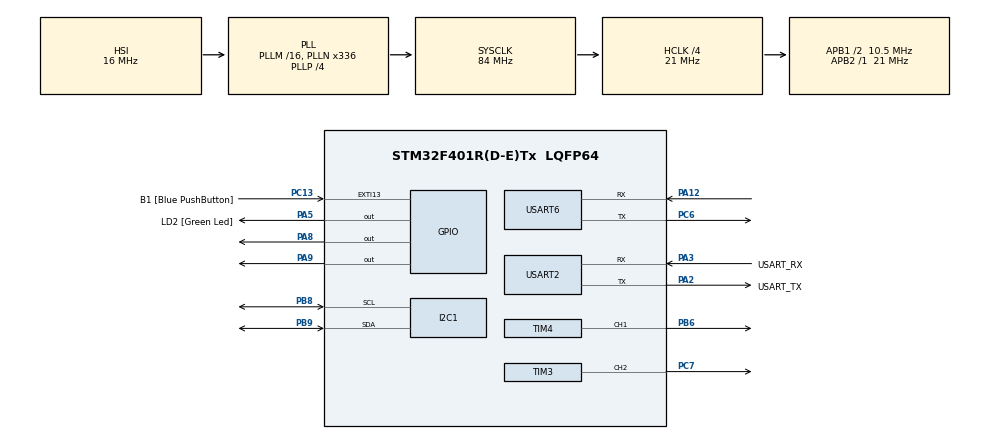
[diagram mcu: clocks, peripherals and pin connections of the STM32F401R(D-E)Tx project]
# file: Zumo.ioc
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Dma.Request0=USART6_RX
Dma.USART6_RX.0.Direction=DMA_PERIPH_TO_MEMORY
Dma.USART6_RX.0.FIFOMode=DMA_FIFOMODE_DISABLE
Dma.USART6_RX.0.Instance=DMA2_Stream1
Dma.USART6_RX.0.MemDataAlignment=DMA_MDATAALIGN_BYTE
Dma.USART6_RX.0.MemInc=DMA_MINC_ENABLE
Dma.USART6_RX.0.Mode=DMA_NORMAL
Dma.USART6_RX.0.PeriphDataAlignment=DMA_PDATAALIGN_BYTE
Dma.USART6_RX.0.PeriphInc=DMA_PINC_DISABLE
Dma.USART6_RX.0.Priority=DMA_PRIORITY_LOW
I2C1.I2C_Mode=I2C_Fast
Mcu.Family=STM32F4
Mcu.Name=STM32F401R(D-E)Tx
Mcu.Package=LQFP64
NVIC.DMA2_Stream1_IRQn=true\:0\:0\:false\:false\:true\:false\:true\:true
NVIC.PriorityGroup=NVIC_PRIORITYGROUP_0
PA12.Mode=Asynchronous
PA12.Signal=USART6_RX
PA13.GPIO_Label=TMS
PA13.Signal=SYS_JTMS-SWDIO
PA14.GPIO_Label=TCK
PA14.Signal=SYS_JTCK-SWCLK
PA2.GPIO_Label=USART_TX
PA2.GPIO_Mode=GPIO_MODE_AF_PP
PA2.GPIO_PuPd=GPIO_NOPULL
PA2.GPIO_Speed=GPIO_SPEED_FREQ_LOW
PA2.Mode=Asynchronous
PA2.Signal=USART2_TX
PA3.GPIO_Label=USART_RX
PA3.GPIO_Mode=GPIO_MODE_AF_PP
PA3.GPIO_PuPd=GPIO_NOPULL
PA3.GPIO_Speed=GPIO_SPEED_FREQ_LOW
PA3.Mode=Asynchronous
PA3.Signal=USART2_RX
PA5.GPIO_Label=LD2 [Green Led]
PA5.GPIO_Mode=GPIO_MODE_OUTPUT_PP
PA5.GPIO_PuPd=GPIO_NOPULL
PA5.GPIO_Speed=GPIO_SPEED_FREQ_LOW
PA5.Signal=GPIO_Output
PA8.Signal=GPIO_Output
PA9.Signal=GPIO_Output
PB3.GPIO_Label=SWO
PB3.Signal=SYS_JTDO-SWO
PB6.Signal=S_TIM4_CH1
PB8.Mode=I2C
PB8.Signal=I2C1_SCL
PB9.Mode=I2C
PB9.Signal=I2C1_SDA
PC13-ANTI_TAMP.GPIO_Label=B1 [Blue PushButton]
PC13-ANTI_TAMP.GPIO_ModeDefaultEXTI=GPIO_MODE_IT_FALLING
PC13-ANTI_TAMP.GPIO_PuPd=GPIO_NOPULL
PC13-ANTI_TAMP.Signal=GPXTI13
PC14-OSC32_IN.Signal=RCC_OSC32_IN
PC15-OSC32_OUT.Signal=RCC_OSC32_OUT
PC6.Mode=Asynchronous
PC6.Signal=USART6_TX
PC7.Signal=S_TIM3_CH2
PH0\ -\ OSC_IN.Signal=RCC_OSC_IN
PH1\ -\ OSC_OUT.Signal=RCC_OSC_OUT
ProjectManager.HeapSize=0x200
ProjectManager.StackSize=0x400
ProjectManager.TargetToolchain=STM32CubeIDE
RCC.AHBCLKDivider=RCC_SYSCLK_DIV4
RCC.AHBFreq_Value=21000000
RCC.APB1CLKDivider=RCC_HCLK_DIV2
RCC.APB1Freq_Value=10500000
RCC.APB1TimFreq_Value=21000000
RCC.APB2Freq_Value=21000000
RCC.APB2TimFreq_Value=21000000
RCC.CortexFreq_Value=21000000
RCC.HCLKFreq_Value=21000000
RCC.HSE_VALUE=8000000
RCC.HSI_VALUE=16000000
RCC.LSE_VALUE=32768
RCC.PLLN=336
RCC.PLLP=RCC_PLLP_DIV4
RCC.PLLQ=7
RCC.SYSCLKFreq_VALUE=84000000
RCC.SYSCLKSource=RCC_SYSCLKSOURCE_PLLCLK
RCC.VCOOutputFreq_Value=336000000
SH.S_TIM3_CH2.0=TIM3_CH2,PWM Generation2 CH2
SH.S_TIM4_CH1.0=TIM4_CH1,PWM Generation1 CH1
TIM3.AutoReloadPreload=TIM_AUTORELOAD_PRELOAD_ENABLE
TIM3.Channel-PWM\ Generation2\ CH2=TIM_CHANNEL_2
TIM3.Period=1000
TIM3.Prescaler=84
TIM4.AutoReloadPreload=TIM_AUTORELOAD_PRELOAD_ENABLE
TIM4.Channel-PWM\ Generation1\ CH1=TIM_CHANNEL_1
TIM4.Period=1000
TIM4.Prescaler=84
USART2.VirtualMode=VM_ASYNC
USART6.VirtualMode=VM_ASYNC
VP_TIM4_VS_ClockSourceINT.Mode=Internal
board=NUCLEO-F401RE

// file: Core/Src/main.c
/* USER CODE BEGIN Header */
/**
 ******************************************************************************
 * @file           : main.c
 * @brief          : Main program body
 ******************************************************************************
 * @attention
 *
 * Copyright (c) 2025 STMicroelectronics.
 * All rights reserved.
 *
 * This software is licensed under terms that can be found in the LICENSE file
 * in the root directory of this software component.
 * If no LICENSE file comes with this software, it is provided AS-IS.
 *
 ******************************************************************************
 */
/* USER CODE END Header */
#include "main.h"

/* USER CODE BEGIN Includes */
#include <string.h>
#include <stdio.h>
#include "math.h"
#include <stdlib.h>
/* USER CODE END Includes */

/* USER CODE BEGIN PD */
#define RX_BUF_SIZE 		12
#define TX_BUF_SIZE			6
/* USER CODE END PD */

I2C_HandleTypeDef hi2c1;

TIM_HandleTypeDef htim3;
TIM_HandleTypeDef htim4;

UART_HandleTypeDef huart2;
UART_HandleTypeDef huart6;
DMA_HandleTypeDef hdma_usart6_rx;

/* USER CODE BEGIN PV */
float target_gz = 0.0f;       // Bluetooth command: G{value}
float target_a = 0.0f;        // Bluetooth command: A{value}
int forward_pwm = 300;        // Bluetooth command: P{value}
int mode = 0;                 // 0: PWM, 1: Turn, 2: Acceleration

float vol = 0.0; // Current speed (initially zero)

// Global variables fir pitch, roll, and state
int pitch = 0;
int roll = 0;
int state = 0;
char ca, cb, cc, cd, ce, c;
int count = 0;

uint8_t Data[RX_BUF_SIZE];
uint8_t *Trash;
char bt_str[TX_BUF_SIZE];
/* USER CODE END PV */

void SystemClock_Config(void);
static void MX_GPIO_Init(void);
static void MX_DMA_Init(void);
static void MX_I2C1_Init(void);
static void MX_TIM3_Init(void);
static void MX_TIM4_Init(void);
static void MX_USART2_UART_Init(void);
static void MX_USART6_UART_Init(void);
/* USER CODE BEGIN PFP */
void BT_Receive(char *str);
void motor_forward(void);
void motor_stop(void);
void dyna_forward(int val);
void dyna_backward(int val);
void dyna_right_spin(int val);
void dyna_left_spin(int val);
void gyro_turn_pid(float target_angle_deg, int spin_direction);
HAL_StatusTypeDef check_I2C_device(uint8_t device_address);
void test_I2C_devices(void);
void read_accelerometer(float *ax, float *ay, float *az);
void read_gyroscope(float *gx, float *gy, float *gz);
void read_magnetometer(float *mx, float *my, float *mz);
void init_magnetometer(void);
void init_accelerometer(void);
void init_gyroscope(void);
void set_pwm(float left_pwm, float right_pwm);
void BT_Transmit(char *str);
void curve_control(int target_gz, float signed_speed);
/* USER CODE END PFP */

/* USER CODE BEGIN 0 */
void i2c_scan() {
	printf("Scanning I2C bus...\r\n");
	for (uint8_t addr = 1; addr < 127; addr++) {
		if (HAL_I2C_IsDeviceReady(&hi2c1, addr << 1, 1, 10) == HAL_OK) {
			printf("I2C device found at 0x%02X\r\n", addr);
		} else {
			printf("I2C device NOT found at 0x%02X\r\n", addr);
		}
	}
}

// Callback function of UART interrupt
// MODIFIES: pitch, roll, state
// BT message format: P<ppp>,R<rrr>,S<s>
// where each p, r, and s is one digit in ASCII
// the first digit of pitch and roll indicates plus or minus, '1' for negative values
void HAL_UART_RxCpltCallback(UART_HandleTypeDef *huart) {
	//HAL_UART_DMAPause(huart);
	if (huart->Instance == USART6) {
		//HAL_UART_Transmit(&huart2, Data, 12, 1000);

		//Find the starting character: 'P'
		int index = 0;
		int if_error = 0;
		for (int i = 0; i < RX_BUF_SIZE; i++) {
			if (Data[i] == 'P')
				index = i;
			if(Data[i] > 'Z'){
				if_error = 1;
				break;
			}
		}

		if(!if_error){
			pitch = (Data[(2 + index) % RX_BUF_SIZE] - '0') * 10
					+ (Data[(3 + index) % RX_BUF_SIZE] - '0');
			roll = (Data[(7 + index) % RX_BUF_SIZE] - '0') * 10
					+ (Data[(8 + index) % RX_BUF_SIZE] - '0');
			state = (Data[(11 + index) % RX_BUF_SIZE] - '0');

			if (Data[(1 + index) % RX_BUF_SIZE] == '1')
				pitch *= (-1);
			if (Data[(6 + index) % RX_BUF_SIZE] == '1')
				roll *= (-1);
		}

	}
	//HAL_UART_DMAResume(huart);
	HAL_UART_Receive_DMA(&huart6, Data, RX_BUF_SIZE);
}

void i2c_bus_reset() {
	GPIO_InitTypeDef GPIO_InitStruct = { 0 };

	// 1. Disable I2C peripheral
	__HAL_RCC_I2C1_FORCE_RESET();
	__HAL_RCC_I2C1_RELEASE_RESET();

	// 2. Configure SCL and SDA as GPIO
	GPIO_InitStruct.Pin = GPIO_PIN_8 | GPIO_PIN_9; // Assuming PB8=SCL, PB9=SDA
	GPIO_InitStruct.Mode = GPIO_MODE_OUTPUT_OD;
	GPIO_InitStruct.Pull = GPIO_NOPULL;
	GPIO_InitStruct.Speed = GPIO_SPEED_FREQ_HIGH;
	HAL_GPIO_Init(GPIOB, &GPIO_InitStruct);

	// 3. Pulse SCL 9 times
	for (int i = 0; i < 9; i++) {
		HAL_GPIO_WritePin(GPIOB, GPIO_PIN_8, GPIO_PIN_SET); // SCL High
		HAL_Delay(1);
		HAL_GPIO_WritePin(GPIOB, GPIO_PIN_8, GPIO_PIN_RESET); // SCL Low
		HAL_Delay(1);
	}

	// 4. Reconfigure SDA/SCL for I2C
	MX_I2C1_Init();
}
/* USER CODE END 0 */

int main(void) {

	/* MCU Configuration--------------------------------------------------------*/

	/* Reset of all peripherals, Initializes the Flash interface and the Systick. */
	HAL_Init();

	/* Configure the system clock */
	SystemClock_Config();

	/* Initialize all configured peripherals */
	MX_GPIO_Init();
	MX_DMA_Init();
	MX_I2C1_Init();
	MX_TIM3_Init();
	MX_TIM4_Init();
	MX_USART2_UART_Init();
	MX_USART6_UART_Init();
	/* USER CODE BEGIN 2 */
	HAL_TIM_PWM_Start(&htim3, TIM_CHANNEL_2);
	HAL_TIM_PWM_Start(&htim4, TIM_CHANNEL_1);
	//i2c_scan();
	init_accelerometer();
	init_gyroscope();
	init_magnetometer();
	//HAL_UARTEx_ReceiveToIdle_IT(&huart6, Data, MAX_BUFFER_SIZE);
	//	while((*Trash) != 'P')
	//	{
	//		HAL_UART_Receive(&huart6, Trash, 1, HAL_MAX_DELAY);
	//	}
	HAL_UART_Receive_DMA(&huart6, Data, RX_BUF_SIZE);

	if (HAL_I2C_IsDeviceReady(&hi2c1, 0x6B << 1, 1, HAL_MAX_DELAY) == HAL_OK) {
		printf("L3GD20H detected at 0x6B\r\n");
	} else {
		printf("L3GD20H NOT detected!\r\n");
	}
	if (HAL_I2C_IsDeviceReady(&hi2c1, 0x1D << 1, 1, HAL_MAX_DELAY) == HAL_OK) {
		printf("LSM303D detected at 0x1D\r\n");
	} else {
		printf("LSM303D NOT detected!\r\n");
	}
	//  if (huart2.RxState == HAL_UART_STATE_READY) {
	//        printf("Bluetooth detected\r\n");
	//    } else {
	//        printf("Bluetooth NOT detected!\r\n");
	//        printf("State %d\r\n",huart2.RxState);
	//    }
	/* USER CODE END 2 */

	/* Infinite loop */
	while (1) {

		/* USER CODE BEGIN 3 */
		int num1 = (pitch < 10 && pitch > -10) ? 0 : pitch;
		int num2 = (roll < 10 && roll > -10) ? 0 : roll;
		int num3 = state;
		// Emergency stop logic
		if (num3 == 1) {
			vol = 0.0;
			num1 = 0;
			num2 = 0;
			set_pwm(0,0);

		} else {
			//			if (abs(num1) >= abs(num2)) {
			//				num2 = 0;
			//			} else {
			//				num1 = 0;
			//			}

			// Adjust the speed according to pitch (acceleration/deceleration)
			//printf("pitch:%d\r\n",num1);
			if (num1 > 1000)
			{
				while(1);
			}
			vol = num1 * 18;
			curve_control((int)((float)num2 * 0.95f), vol);

			//printf("velocity:%.2f\r\n",vol);
//	  			set_pwm(vol,vol);

			// Clamp vol to allowable speed range [-1000, 1000]
		}

		// Compute turning difference based on roll
		// Higher roll gives greater difference between wheels for sharper turns
		//printf("Roll:%d\r\n",num2);

//	  		double turn_delta = (vol * num2) / 90.0;
//	  		if (vol<100&&vol>-100){
//	  			int direction = (num2>0) ? 1 : (num2<0) ? -1 : 0;
//	  			turn_delta = 100*direction;
//	  		}
//	  		// Calculate raw PWM values before mapping
//	  		double left_pwm_raw = vol - turn_delta;
//	  		double right_pwm_raw = vol + turn_delta;
//
//	  		// Map absolute speed to PWM (0->150, max->1000), preserving direction
//	  		int left_pwm, right_pwm;
//
//	  		if (left_pwm_raw != 0) {
//	  			int left_sign = (left_pwm_raw > 0) ? 1 : -1;
//	  			left_pwm = left_sign
//	  					* (150 + (abs(left_pwm_raw) * (1000 - 150)) / 1000);
//	  		} else {
//	  			left_pwm = 0;
//	  		}
//
//	  		if (right_pwm_raw != 0) {
//	  			int right_sign = (right_pwm_raw > 0) ? 1 : -1;
//	  			right_pwm = right_sign
//	  					* (150 + (abs(right_pwm_raw) * (1000 - 150)) / 1000);
//	  		} else {
//	  			right_pwm = 0;
//	  		}
//
//	  		// Set PWM values to motors using existing motor control function
//	  		set_pwm(left_pwm, right_pwm);
		//if(count == 10){
		c = 'S';
		if (vol < 0)
			ca = '1';
		else
			ca = '0';

		int vol_int = floor(abs(vol));
		int cbb = (vol_int / 1000);
		cb = cbb + '0';
		int ccc = ((vol_int - cbb * 1000) / 100);
		cc = ccc + '0';
		int cdd = ((vol_int - cbb * 1000 - ccc * 100) / 10);
		cd = cdd + '0';
		int cee = (vol_int - cbb * 1000 - ccc * 100 - 10 * cdd);
		ce = cee + '0';

		sprintf(bt_str, "%c%c%c%c%c%c", c, ca, cb, cc, cd, ce);
		//printf("%c%c%c%c%c%c\r\n",c,ca,cb,cc,cd,ce);

		count = 0;
		BT_Transmit(bt_str);
		//}
		//count++;
		// Delay to maintain loop responsiveness (e.g., 10 ms per loop)
		HAL_Delay(10);  // Keep loop responsive
		//if (num3 == 1)
			//HAL_Delay(1000);
	}
	/* USER CODE END 3 */
}

void SystemClock_Config(void) {
	RCC_OscInitTypeDef RCC_OscInitStruct = { 0 };
	RCC_ClkInitTypeDef RCC_ClkInitStruct = { 0 };

	/** Configure the main internal regulator output voltage
	 */
	__HAL_RCC_PWR_CLK_ENABLE();
	__HAL_PWR_VOLTAGESCALING_CONFIG(PWR_REGULATOR_VOLTAGE_SCALE2);

	/** Initializes the RCC Oscillators according to the specified parameters
	 * in the RCC_OscInitTypeDef structure.
	 */
	RCC_OscInitStruct.OscillatorType = RCC_OSCILLATORTYPE_HSI;
	RCC_OscInitStruct.HSIState = RCC_HSI_ON;
	RCC_OscInitStruct.HSICalibrationValue = RCC_HSICALIBRATION_DEFAULT;
	RCC_OscInitStruct.PLL.PLLState = RCC_PLL_ON;
	RCC_OscInitStruct.PLL.PLLSource = RCC_PLLSOURCE_HSI;
	RCC_OscInitStruct.PLL.PLLM = 16;
	RCC_OscInitStruct.PLL.PLLN = 336;
	RCC_OscInitStruct.PLL.PLLP = RCC_PLLP_DIV4;
	RCC_OscInitStruct.PLL.PLLQ = 7;
	if (HAL_RCC_OscConfig(&RCC_OscInitStruct) != HAL_OK) {
		Error_Handler();
	}

	/** Initializes the CPU, AHB and APB buses clocks
	 */
	RCC_ClkInitStruct.ClockType = RCC_CLOCKTYPE_HCLK | RCC_CLOCKTYPE_SYSCLK
			| RCC_CLOCKTYPE_PCLK1 | RCC_CLOCKTYPE_PCLK2;
	RCC_ClkInitStruct.SYSCLKSource = RCC_SYSCLKSOURCE_PLLCLK;
	RCC_ClkInitStruct.AHBCLKDivider = RCC_SYSCLK_DIV4;
	RCC_ClkInitStruct.APB1CLKDivider = RCC_HCLK_DIV2;
	RCC_ClkInitStruct.APB2CLKDivider = RCC_HCLK_DIV1;

	if (HAL_RCC_ClockConfig(&RCC_ClkInitStruct, FLASH_LATENCY_0) != HAL_OK) {
		Error_Handler();
	}
}

static void MX_I2C1_Init(void) {

	hi2c1.Instance = I2C1;
	hi2c1.Init.ClockSpeed = 400000;
	hi2c1.Init.DutyCycle = I2C_DUTYCYCLE_2;
	hi2c1.Init.OwnAddress1 = 0;
	hi2c1.Init.AddressingMode = I2C_ADDRESSINGMODE_7BIT;
	hi2c1.Init.DualAddressMode = I2C_DUALADDRESS_DISABLE;
	hi2c1.Init.OwnAddress2 = 0;
	hi2c1.Init.GeneralCallMode = I2C_GENERALCALL_DISABLE;
	hi2c1.Init.NoStretchMode = I2C_NOSTRETCH_DISABLE;
	if (HAL_I2C_Init(&hi2c1) != HAL_OK) {
		Error_Handler();
	}

}

static void MX_TIM3_Init(void) {

	TIM_MasterConfigTypeDef sMasterConfig = { 0 };
	TIM_OC_InitTypeDef sConfigOC = { 0 };

	htim3.Instance = TIM3;
	htim3.Init.Prescaler = 84;
	htim3.Init.CounterMode = TIM_COUNTERMODE_UP;
	htim3.Init.Period = 1000;
	htim3.Init.ClockDivision = TIM_CLOCKDIVISION_DIV1;
	htim3.Init.AutoReloadPreload = TIM_AUTORELOAD_PRELOAD_ENABLE;
	if (HAL_TIM_PWM_Init(&htim3) != HAL_OK) {
		Error_Handler();
	}
	sMasterConfig.MasterOutputTrigger = TIM_TRGO_RESET;
	sMasterConfig.MasterSlaveMode = TIM_MASTERSLAVEMODE_DISABLE;
	if (HAL_TIMEx_MasterConfigSynchronization(&htim3, &sMasterConfig)
			!= HAL_OK) {
		Error_Handler();
	}
	sConfigOC.OCMode = TIM_OCMODE_PWM1;
	sConfigOC.Pulse = 0;
	sConfigOC.OCPolarity = TIM_OCPOLARITY_HIGH;
	sConfigOC.OCFastMode = TIM_OCFAST_DISABLE;
	if (HAL_TIM_PWM_ConfigChannel(&htim3, &sConfigOC, TIM_CHANNEL_2)
			!= HAL_OK) {
		Error_Handler();
	}
	/* USER CODE BEGIN TIM3_Init 2 */
	sConfigOC.OCMode = TIM_OCMODE_PWM1;
	sConfigOC.Pulse = 0;
	sConfigOC.OCPolarity = TIM_OCPOLARITY_HIGH;
	sConfigOC.OCFastMode = TIM_OCFAST_DISABLE;
	if (HAL_TIM_PWM_ConfigChannel(&htim3, &sConfigOC, TIM_CHANNEL_2)
			!= HAL_OK) {
		Error_Handler();
	}

	HAL_TIM_PWM_Start(&htim3, TIM_CHANNEL_2);
	/* USER CODE END TIM3_Init 2 */
	HAL_TIM_MspPostInit(&htim3);

}

static void MX_TIM4_Init(void) {

	TIM_ClockConfigTypeDef sClockSourceConfig = { 0 };
	TIM_MasterConfigTypeDef sMasterConfig = { 0 };
	TIM_OC_InitTypeDef sConfigOC = { 0 };

	htim4.Instance = TIM4;
	htim4.Init.Prescaler = 84;
	htim4.Init.CounterMode = TIM_COUNTERMODE_UP;
	htim4.Init.Period = 1000;
	htim4.Init.ClockDivision = TIM_CLOCKDIVISION_DIV1;
	htim4.Init.AutoReloadPreload = TIM_AUTORELOAD_PRELOAD_ENABLE;
	if (HAL_TIM_Base_Init(&htim4) != HAL_OK) {
		Error_Handler();
	}
	sClockSourceConfig.ClockSource = TIM_CLOCKSOURCE_INTERNAL;
	if (HAL_TIM_ConfigClockSource(&htim4, &sClockSourceConfig) != HAL_OK) {
		Error_Handler();
	}
	if (HAL_TIM_PWM_Init(&htim4) != HAL_OK) {
		Error_Handler();
	}
	sMasterConfig.MasterOutputTrigger = TIM_TRGO_RESET;
	sMasterConfig.MasterSlaveMode = TIM_MASTERSLAVEMODE_DISABLE;
	if (HAL_TIMEx_MasterConfigSynchronization(&htim4, &sMasterConfig)
			!= HAL_OK) {
		Error_Handler();
	}
	sConfigOC.OCMode = TIM_OCMODE_PWM1;
	sConfigOC.Pulse = 0;
	sConfigOC.OCPolarity = TIM_OCPOLARITY_HIGH;
	sConfigOC.OCFastMode = TIM_OCFAST_DISABLE;
	if (HAL_TIM_PWM_ConfigChannel(&htim4, &sConfigOC, TIM_CHANNEL_1)
			!= HAL_OK) {
		Error_Handler();
	}
	/* USER CODE BEGIN TIM4_Init 2 */
	sConfigOC.OCMode = TIM_OCMODE_PWM1;
	sConfigOC.Pulse = 0;
	sConfigOC.OCPolarity = TIM_OCPOLARITY_HIGH;
	sConfigOC.OCFastMode = TIM_OCFAST_DISABLE;
	if (HAL_TIM_PWM_ConfigChannel(&htim4, &sConfigOC, TIM_CHANNEL_1)
			!= HAL_OK) {
		Error_Handler();
	}

	HAL_TIM_PWM_Start(&htim4, TIM_CHANNEL_1);
	/* USER CODE END TIM4_Init 2 */
	HAL_TIM_MspPostInit(&htim4);

}

static void MX_USART2_UART_Init(void) {

	huart2.Instance = USART2;
	huart2.Init.BaudRate = 115200;
	huart2.Init.WordLength = UART_WORDLENGTH_8B;
	huart2.Init.StopBits = UART_STOPBITS_1;
	huart2.Init.Parity = UART_PARITY_NONE;
	huart2.Init.Mode = UART_MODE_TX_RX;
	huart2.Init.HwFlowCtl = UART_HWCONTROL_NONE;
	huart2.Init.OverSampling = UART_OVERSAMPLING_16;
	if (HAL_UART_Init(&huart2) != HAL_OK) {
		Error_Handler();
	}

}

static void MX_USART6_UART_Init(void) {

	huart6.Instance = USART6;
	huart6.Init.BaudRate = 115200;
	huart6.Init.WordLength = UART_WORDLENGTH_8B;
	huart6.Init.StopBits = UART_STOPBITS_1;
	huart6.Init.Parity = UART_PARITY_NONE;
	huart6.Init.Mode = UART_MODE_TX_RX;
	huart6.Init.HwFlowCtl = UART_HWCONTROL_NONE;
	huart6.Init.OverSampling = UART_OVERSAMPLING_16;
	if (HAL_UART_Init(&huart6) != HAL_OK) {
		Error_Handler();
	}

}

static void MX_DMA_Init(void) {

	/* DMA controller clock enable */
	__HAL_RCC_DMA2_CLK_ENABLE();

	/* DMA interrupt init */
	/* DMA2_Stream1_IRQn interrupt configuration */
	HAL_NVIC_SetPriority(DMA2_Stream1_IRQn, 0, 0);
	HAL_NVIC_EnableIRQ(DMA2_Stream1_IRQn);

}

static void MX_GPIO_Init(void) {
	GPIO_InitTypeDef GPIO_InitStruct = { 0 };

	/* GPIO Ports Clock Enable */
	__HAL_RCC_GPIOC_CLK_ENABLE();
	__HAL_RCC_GPIOH_CLK_ENABLE();
	__HAL_RCC_GPIOA_CLK_ENABLE();
	__HAL_RCC_GPIOB_CLK_ENABLE();

	/*Configure GPIO pin Output Level */
	HAL_GPIO_WritePin(GPIOA, LD2_Pin | GPIO_PIN_8 | GPIO_PIN_9, GPIO_PIN_RESET);

	/*Configure GPIO pin : B1_Pin */
	GPIO_InitStruct.Pin = B1_Pin;
	GPIO_InitStruct.Mode = GPIO_MODE_IT_FALLING;
	GPIO_InitStruct.Pull = GPIO_NOPULL;
	HAL_GPIO_Init(B1_GPIO_Port, &GPIO_InitStruct);

	/*Configure GPIO pins : LD2_Pin PA8 PA9 */
	GPIO_InitStruct.Pin = LD2_Pin | GPIO_PIN_8 | GPIO_PIN_9;
	GPIO_InitStruct.Mode = GPIO_MODE_OUTPUT_PP;
	GPIO_InitStruct.Pull = GPIO_NOPULL;
	GPIO_InitStruct.Speed = GPIO_SPEED_FREQ_LOW;
	HAL_GPIO_Init(GPIOA, &GPIO_InitStruct);

	/* USER CODE BEGIN MX_GPIO_Init_2 */
	// TIM3_CH2 -> PC7
	GPIO_InitStruct.Pin = GPIO_PIN_7;
	GPIO_InitStruct.Mode = GPIO_MODE_AF_PP;
	GPIO_InitStruct.Pull = GPIO_NOPULL;
	GPIO_InitStruct.Speed = GPIO_SPEED_FREQ_LOW;
	GPIO_InitStruct.Alternate = GPIO_AF2_TIM3;
	HAL_GPIO_Init(GPIOC, &GPIO_InitStruct);

	// TIM4_CH1 -> PB6
	GPIO_InitStruct.Pin = GPIO_PIN_6;
	GPIO_InitStruct.Mode = GPIO_MODE_AF_PP;
	GPIO_InitStruct.Pull = GPIO_NOPULL;
	GPIO_InitStruct.Speed = GPIO_SPEED_FREQ_LOW;
	GPIO_InitStruct.Alternate = GPIO_AF2_TIM4;
	HAL_GPIO_Init(GPIOB, &GPIO_InitStruct);
	/* USER CODE END MX_GPIO_Init_2 */
}

/* USER CODE BEGIN 4 */
void motor_forward(void) {
	HAL_GPIO_WritePin(GPIOA, GPIO_PIN_8, 0); // 			RIGHT DIR 	PA8 	D7	Pin 7	0:For	1:Back
	HAL_GPIO_WritePin(GPIOA, GPIO_PIN_9, 0); // 			LEFT DIR 	PA9 	D8	Pin 8	0:For	1:Back
	__HAL_TIM_SET_COMPARE(&htim3, TIM_CHANNEL_2, 500); //	RIGHT VAL	PC7		D9	Pin 9
	__HAL_TIM_SET_COMPARE(&htim4, TIM_CHANNEL_1, 500); // 	LEFT VAL	PB6		D10	Pin10
}

void dyna_forward(int val) {
	HAL_GPIO_WritePin(GPIOA, GPIO_PIN_8, 0); // 			RIGHT DIR 	PA8 	D7	Pin 7	0:For	1:Back
	HAL_GPIO_WritePin(GPIOA, GPIO_PIN_9, 0); // 			LEFT DIR 	PA9 	D8	Pin 8	0:For	1:Back
	__HAL_TIM_SET_COMPARE(&htim3, TIM_CHANNEL_2, val); //	RIGHT VAL	PC7		D9	Pin 9
	__HAL_TIM_SET_COMPARE(&htim4, TIM_CHANNEL_1, val); // 	LEFT VAL	PB6		D10	Pin10
}

void dyna_backward(int val) {
	HAL_GPIO_WritePin(GPIOA, GPIO_PIN_8, 1); // 			RIGHT DIR 	PA8 	D7	Pin 7	0:For	1:Back
	HAL_GPIO_WritePin(GPIOA, GPIO_PIN_9, 1); // 			LEFT DIR 	PA9 	D8	Pin 8	0:For	1:Back
	__HAL_TIM_SET_COMPARE(&htim3, TIM_CHANNEL_2, val); //	RIGHT VAL	PC7		D9	Pin 9
	__HAL_TIM_SET_COMPARE(&htim4, TIM_CHANNEL_1, val); // 	LEFT VAL	PB6		D10	Pin10
}

void dyna_right_spin(int val) {
	HAL_GPIO_WritePin(GPIOA, GPIO_PIN_8, 1); // 			RIGHT DIR 	PA8 	D7	Pin 7	0:For	1:Back
	HAL_GPIO_WritePin(GPIOA, GPIO_PIN_9, 0); // 			LEFT DIR 	PA9 	D8	Pin 8	0:For	1:Back
	__HAL_TIM_SET_COMPARE(&htim3, TIM_CHANNEL_2, val); //	RIGHT VAL	PC7		D9	Pin 9
	__HAL_TIM_SET_COMPARE(&htim4, TIM_CHANNEL_1, val); // 	LEFT VAL	PB6		D10	Pin10

}

void dyna_left_spin(int val) {
	HAL_GPIO_WritePin(GPIOA, GPIO_PIN_8, 0); // 			RIGHT DIR 	PA8 	D7	Pin 7	0:For	1:Back
	HAL_GPIO_WritePin(GPIOA, GPIO_PIN_9, 1); // 			LEFT DIR 	PA9 	D8	Pin 8	0:For	1:Back
	__HAL_TIM_SET_COMPARE(&htim3, TIM_CHANNEL_2, val); //	RIGHT VAL	PC7		D9	Pin 9
	__HAL_TIM_SET_COMPARE(&htim4, TIM_CHANNEL_1, val); // 	LEFT VAL	PB6		D10	Pin10

}

void motor_stop(void) {
	__HAL_TIM_SET_COMPARE(&htim3, TIM_CHANNEL_2, 0); //		RIGHT VAL	PC7		D9	Pin 9
	__HAL_TIM_SET_COMPARE(&htim4, TIM_CHANNEL_1, 0); // 		LEFT VAL	PB6		D10	Pin10
}

void curve_control(int target_gz, float signed_speed) {
	static float integral = 0.0f;
	static float previous_error = 0.0f;
	static float gz_filtered = 0.0f;
	static uint32_t last_time = 0;

	float gx, gy, gz;
	read_gyroscope(&gx, &gy, &gz);

	gz_filtered = 0.9f * gz_filtered + 0.1f * gz;

	uint32_t now = HAL_GetTick();
	float dt = (now - last_time) / 1000.0f;
	if (dt < 0.01f)
		dt = 0.01f;
	last_time = now;

	float error = target_gz - gz_filtered;
	integral += error * dt;
	float derivative = (error - previous_error) / dt;
	previous_error = error;

	float Kp = 9.0f, Ki = 0.0f, Kd = 0.05f;
	float control = Kp * error + Ki * integral + Kd * derivative;

	float delta_pwm = control;
	//printf("delta_pwm %d \r\n",delta_pwm);
	if (delta_pwm > 1000.0)
		delta_pwm = 1000.0;
	if (delta_pwm < -1000.0)
		delta_pwm = -1000.0;
	if (target_gz == 0)
		delta_pwm = 0;
	float left_pwm = signed_speed - delta_pwm;
	float right_pwm = signed_speed + delta_pwm;

	set_pwm(left_pwm, right_pwm);

	printf("[CurveCtrl] gz=%.2f, err=%.2f, dt=%.3f, Δ=%.2f, L=%.2f, R=%.2f\r\n",
			gz_filtered, error, dt, delta_pwm, left_pwm, right_pwm);
}

HAL_StatusTypeDef check_I2C_device(uint8_t device_address) {
	return HAL_I2C_IsDeviceReady(&hi2c1, device_address, 1, HAL_MAX_DELAY);
}

void test_I2C_devices() {
	if (check_I2C_device(0x1D) == HAL_OK) {
		//printf("LSM303D detected at 0x1D\n");
	} else {
		//printf("LSM303D NOT detected!\n");
	}

	if (check_I2C_device(0x6B) == HAL_OK) {
		//printf("L3GD20H detected at 0x6B\n");
	} else {
		//printf("L3GD20H NOT detected!\n");
	}
}

// FIX THESE
void read_accelerometer(float *ax, float *ay, float *az) {
	uint8_t reg = 0x28 | 0x80; // Auto-increment
	uint8_t data[6] = { 0 };

	if (HAL_I2C_Mem_Read(&hi2c1, 0x1D << 1, reg, I2C_MEMADD_SIZE_8BIT, data, 6,
	HAL_MAX_DELAY) != HAL_OK) {
		//printf("Accel read failed\r\n");
		*ax = *ay = *az = 0.0f;
		return;
	}

	int16_t raw_ax = (int16_t) (data[1] << 8 | data[0]);
	int16_t raw_ay = (int16_t) (data[3] << 8 | data[2]);
	int16_t raw_az = (int16_t) (data[5] << 8 | data[4]);

	*ax = raw_ax / 16384.0f; // assuming ±2g range
	*ay = raw_ay / 16384.0f;
	*az = raw_az / 16384.0f;
}

void read_gyroscope(float *gx, float *gy, float *gz) {
	uint8_t reg = 0x28 | 0x80;
	uint8_t data[6] = { 0 };

	if (HAL_I2C_Mem_Read(&hi2c1, 0x6B << 1, reg, I2C_MEMADD_SIZE_8BIT, data, 6,
	HAL_MAX_DELAY) != HAL_OK) {
		//printf("Gyro read failed\r\n");
		*gx = *gy = *gz = 0.0f;
		return;
	}

	int16_t raw_gx = (int16_t) (data[1] << 8 | data[0]);
	int16_t raw_gy = (int16_t) (data[3] << 8 | data[2]);
	int16_t raw_gz = (int16_t) (data[5] << 8 | data[4]);

	*gx = raw_gx / 131.0f; // assuming ±250 dps range
	*gy = raw_gy / 131.0f;
	*gz = raw_gz / 131.0f;
}

void read_magnetometer(float *mx, float *my, float *mz) {
	uint8_t reg = 0x08 | 0x80;
	uint8_t data[6] = { 0 };

	if (HAL_I2C_Mem_Read(&hi2c1, 0x1D << 1, reg, I2C_MEMADD_SIZE_8BIT, data, 6,
	HAL_MAX_DELAY) != HAL_OK) {
		//printf("Magnetometer read failed\r\n");
		*mx = *my = *mz = 0.0f;
		return;
	}

	int16_t raw_mx = (int16_t) (data[1] << 8 | data[0]);
	int16_t raw_my = (int16_t) (data[3] << 8 | data[2]);
	int16_t raw_mz = (int16_t) (data[5] << 8 | data[4]);

	*mx = raw_mx * 0.080f; // assuming ±4 Gauss (80 mG/LSB)
	*my = raw_my * 0.080f;
	*mz = raw_mz * 0.080f;
}

void init_magnetometer(void) {
	// CTRL5 (0x24): Enable temperature, set resolution, 6.25Hz output rate
	uint8_t ctrl5 = 0x94;  // 1001 0100
	HAL_I2C_Mem_Write(&hi2c1, 0x1D << 1, 0x24, 1, &ctrl5, 1, HAL_MAX_DELAY);

	// CTRL6 (0x25): ±4 gauss range
	uint8_t ctrl6 = 0x00;
	HAL_I2C_Mem_Write(&hi2c1, 0x1D << 1, 0x25, 1, &ctrl6, 1, HAL_MAX_DELAY);

	// CTRL7 (0x26): Continuous conversion mode
	uint8_t ctrl7 = 0x00;
	HAL_I2C_Mem_Write(&hi2c1, 0x1D << 1, 0x26, 1, &ctrl7, 1, HAL_MAX_DELAY);
}

void init_accelerometer(void) {
	// CTRL1 (0x20): 0x57 = 0b01010111 => 50Hz, all axes enabled
	uint8_t ctrl1 = 0x57;
	HAL_I2C_Mem_Write(&hi2c1, 0x1D << 1, 0x20, 1, &ctrl1, 1, HAL_MAX_DELAY);

	// CTRL2 (0x21): 0x00 = ±2g, default anti-alias filter
	uint8_t ctrl2 = 0x00;
	HAL_I2C_Mem_Write(&hi2c1, 0x1D << 1, 0x21, 1, &ctrl2, 1, HAL_MAX_DELAY);
}

void init_gyroscope(void) {
	// CTRL1 (0x20): 0x0F = Normal mode, all axes enabled, 95 Hz ODR
	uint8_t ctrl1 = 0x0F;
	HAL_I2C_Mem_Write(&hi2c1, 0x6B << 1, 0x20, 1, &ctrl1, 1, HAL_MAX_DELAY);

	// CTRL4 (0x23): 0x00 = 250 dps (default)
	uint8_t ctrl4 = 0x00;
	HAL_I2C_Mem_Write(&hi2c1, 0x6B << 1, 0x23, 1, &ctrl4, 1, HAL_MAX_DELAY);
}

void set_pwm(float left_pwm, float right_pwm) {
	// LEFT motor
	if (left_pwm >= 0) {
		HAL_GPIO_WritePin(GPIOA, GPIO_PIN_9, 0);  // Forward
	} else {
		HAL_GPIO_WritePin(GPIOA, GPIO_PIN_9, 1);    // Backward
		left_pwm = -left_pwm;
	}

	// RIGHT motor
	if (right_pwm >= 0) {
		HAL_GPIO_WritePin(GPIOA, GPIO_PIN_8, 0);  // Forward
	} else {
		HAL_GPIO_WritePin(GPIOA, GPIO_PIN_8, 1);    // Backward
		right_pwm = -right_pwm;
	}

	// Clamp values
	if (left_pwm > 1000)
		left_pwm = 1000;
	if (right_pwm > 1000)
		right_pwm = 1000;

	__HAL_TIM_SET_COMPARE(&htim4, TIM_CHANNEL_1, left_pwm / 1); // LEFT (TIM4_CH1)
	__HAL_TIM_SET_COMPARE(&htim3, TIM_CHANNEL_2, right_pwm / 1); // RIGHT (TIM3_CH2)
}

void BT_Transmit(char *str) {
	HAL_UART_Transmit(&huart6, (uint8_t*) str, strlen(str), HAL_MAX_DELAY);
}

#ifdef __GNUC__
#define PUTCHAR_PROTOTYPE int __io_putchar(int ch)
#else
#define PUTCHAR_PROTOTYPE int fputc(int ch, FILE *f)
#endif /* __GNUC__ */

PUTCHAR_PROTOTYPE {
	HAL_UART_Transmit(&huart2, (uint8_t*) &ch, 1, HAL_MAX_DELAY);
	return ch;
}

/* USER CODE END 4 */

void Error_Handler(void) {
	__disable_irq();
	while (1) {
	}
}
